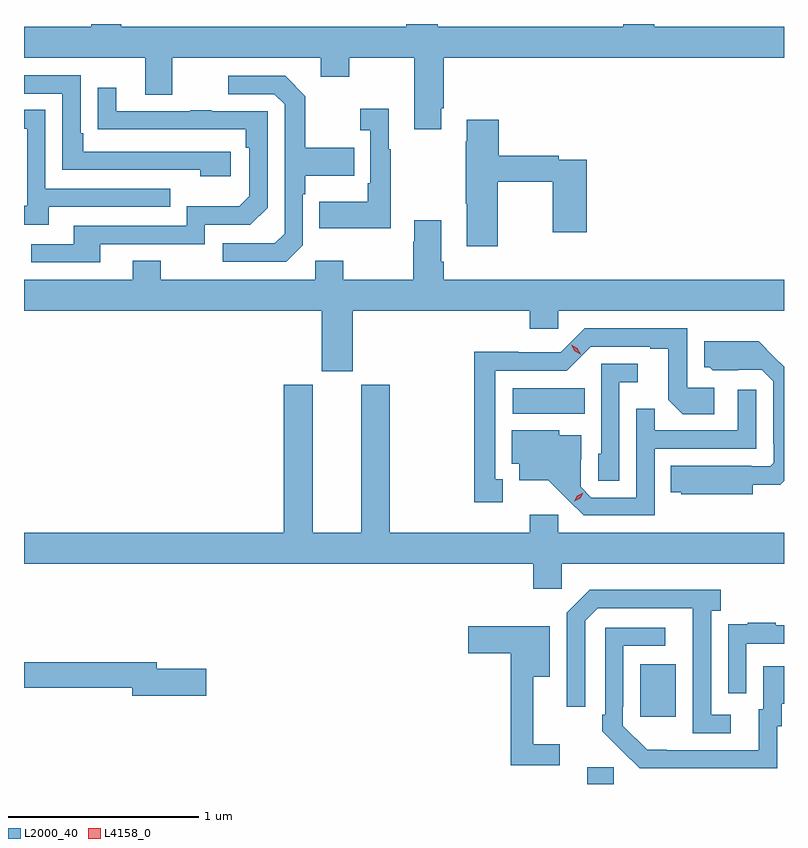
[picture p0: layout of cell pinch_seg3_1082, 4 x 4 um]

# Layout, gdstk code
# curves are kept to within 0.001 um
import gdstk
lib = gdstk.Library(unit=1e-6, precision=1e-09)
def R(c, l, rs):  # rectangles x0, y0, x1, y1
    for r in rs: c.add(gdstk.rectangle(r[:2], r[2:], *l))
def P(c, l, *ps):  # polygons
    for p in ps: c.add(gdstk.Polygon(p, *l))
L2000_40 = (2000, 40)
L4158_0 = (4158, 0)

pinch_seg3_1082 = lib.new_cell('pinch_seg3_1082')
R(pinch_seg3_1082, L2000_40, [(318.254,681.11,318.393,681.198), (318.533,681.465,318.721,681.739), (317.862,683.06,318.242,683.194)])
P(pinch_seg3_1082, L2000_40, [(317.485,684.667),(317.498,684.667),(317.498,684.932),(319.29,684.932),(319.29,685.096),(318.608,685.096),(318.608,685.11),(318.443,685.11),(318.443,685.096),(317.468,685.096),(317.468,685.11),(317.303,685.11),(317.303,685.096),(315.803,685.096),(315.803,685.11),(315.643,685.11),(315.643,685.096),(315.29,685.096),(315.29,684.932),(315.929,684.932),(315.929,684.738),(316.069,684.738),(316.069,684.932),(316.853,684.932),(316.853,684.833),(317.001,684.833),(317.001,684.932),(317.345,684.932),(317.345,684.555),(317.485,684.555)],
  [(316.378,684.438),(315.601,684.438),(315.601,684.535),(315.588,684.535),(315.588,684.84),(315.29,684.84),(315.29,684.744),(315.492,684.744),(315.492,684.342),(316.217,684.342),(316.217,684.308),(316.378,684.308)],
  [(316.758,683.946),(316.758,684.215),(316.771,684.215),(316.771,684.311),(317.027,684.311),(317.027,684.459),(316.771,684.459),(316.771,684.731),(316.665,684.837),(316.365,684.837),(316.365,684.741),(316.608,684.741),(316.662,684.687),(316.662,684.006),(316.611,683.955),(316.335,683.955),(316.335,683.859),(316.671,683.859)],
  [(315.691,683.952),(316.242,683.952),(316.242,684.054),(316.482,684.054),(316.572,684.144),(316.572,684.651),(316.277,684.651),(316.277,684.656),(316.165,684.656),(316.165,684.651),(315.775,684.651),(315.775,684.775),(315.679,684.775),(315.679,684.556),(316.456,684.555),(316.456,684.458),(316.476,684.458),(316.476,684.204),(316.423,684.151),(316.146,684.151),(316.146,684.048),(315.551,684.048),(315.551,683.952),(315.327,683.952),(315.327,683.856),(315.691,683.856)],
  [(317.221,684.451),(317.209,684.451),(317.209,684.664),(317.061,684.664),(317.061,684.551),(317.112,684.551),(317.112,684.271),(317.1,684.271),(317.1,684.175),(316.843,684.175),(316.843,684.035),(317.221,684.035)],
  [(315.421,684.147),(316.061,684.147),(316.061,684.243),(315.402,684.243),(315.402,684.659),(315.29,684.659),(315.29,684.558),(315.306,684.558),(315.306,684.153),(315.29,684.153),(315.29,684.053),(315.421,684.053)],
  [(317.784,684.28),(318.073,684.28),(318.073,684.015),(318.251,684.015),(318.251,684.396),(318.104,684.396),(318.104,684.416),(317.789,684.416),(317.789,684.607),(317.621,684.607),(317.621,684.494),(317.614,684.494),(317.614,684.163),(317.621,684.163),(317.621,683.94),(317.784,683.94)],
  [(317.02,683.6),(317.951,683.6),(317.951,683.507),(318.102,683.507),(318.102,683.6),(319.29,683.6),(319.29,683.764),(317.498,683.764),(317.498,683.86),(317.485,683.86),(317.485,684.076),(317.345,684.076),(317.345,683.963),(317.338,683.963),(317.338,683.764),(316.971,683.764),(316.971,683.863),(316.824,683.863),(316.824,683.764),(316.011,683.764),(316.011,683.863),(315.863,683.863),(315.863,683.764),(315.29,683.764),(315.29,683.6),(316.856,683.6),(316.856,683.283),(317.02,683.283)],
  [(317.809,682.713),(317.77,682.713),(317.77,683.286),(318.147,683.286),(318.273,683.412),(318.587,683.412),(318.587,683.4),(318.681,683.4),(318.681,683.132),(318.757,683.056),(318.922,683.056),(318.922,683.196),(318.78,683.196),(318.78,683.508),(318.24,683.508),(318.114,683.382),(317.892,683.382),(317.892,683.384),(317.659,683.384),(317.659,682.593),(317.809,682.593)],
  [(319.126,682.685),(319.27,682.685),(319.29,682.705),(319.29,683.305),(319.157,683.44),(318.869,683.44),(318.869,683.304),(318.9,683.304),(318.916,683.288),(319.173,683.289),(319.233,683.229),(319.233,682.9),(319.236,682.9),(319.236,682.8),(319.218,682.782),(319.118,682.782),(319.118,682.786),(318.694,682.786),(318.694,682.646),(318.75,682.646),(318.75,682.634),(319.126,682.634)],
  [(318.423,683.225),(318.52,683.225),(318.52,683.322),(318.327,683.322),(318.327,682.848),(318.312,682.848),(318.312,682.705),(318.423,682.705)],
  [(318.12,682.268),(319.29,682.268),(319.29,682.432),(318.102,682.432),(318.102,682.528),(317.951,682.528),(317.951,682.432),(317.214,682.432),(317.214,683.211),(317.066,683.211),(317.066,682.432),(316.81,682.432),(316.81,683.211),(316.658,683.211),(316.658,682.432),(315.29,682.432),(315.29,682.268),(317.969,682.268),(317.969,682.137),(318.12,682.137)],
  [(318.609,682.875),(319.143,682.875),(319.143,683.185),(319.047,683.185),(319.047,682.971),(318.611,682.971),(318.611,683.084),(318.513,683.084),(318.513,682.617),(318.276,682.617),(318.219,682.674),(318.219,682.816),(318.223,682.816),(318.223,682.945),(318.108,682.945),(318.108,682.972),(317.858,682.972),(317.858,682.796),(317.897,682.796),(317.897,682.709),(318.049,682.709),(318.236,682.524),(318.609,682.524)],
  [(319.009,681.474),(318.906,681.474),(318.906,682.022),(318.958,682.022),(318.958,682.132),(318.268,682.132),(318.147,682.011),(318.147,681.516),(318.243,681.516),(318.243,681.969),(318.309,682.035),(318.809,682.035),(318.81,681.378),(319.009,681.378)],
  [(319.092,681.849),(319.29,681.849),(319.29,681.945),(319.247,681.945),(319.247,681.958),(319.099,681.958),(319.099,681.951),(318.997,681.951),(318.997,681.842),(318.996,681.842),(318.996,681.588),(319.092,681.588)],
  [(318.109,681.319),(317.969,681.319),(317.969,681.674),(318.058,681.674),(318.058,681.939),(317.628,681.939),(317.628,681.797),(317.851,681.797),(317.851,681.21),(318.109,681.21)],
  [(319.254,681.414),(319.279,681.414),(319.279,681.533),(319.29,681.533),(319.29,681.73),(319.181,681.73),(319.181,681.504),(319.157,681.504),(319.157,681.288),(318.57,681.289),(318.441,681.417),(318.441,681.517),(318.444,681.517),(318.444,681.837),(318.664,681.837),(318.664,681.933),(318.348,681.933),(318.348,681.475),(318.333,681.475),(318.333,681.387),(318.53,681.192),(319.254,681.192)],
  [(316.249,681.716),(315.988,681.716),(315.988,681.752),(315.29,681.752),(315.29,681.616),(315.86,681.616),(315.86,681.574),(316.249,681.574)])
P(pinch_seg3_1082, L4158_0, [(318.218,683.371),(318.187,683.39),(318.169,683.422),(318.169,683.423),(318.17,683.423),(318.201,683.404),(318.219,683.371),(318.219,683.371)],
  [(318.186,682.598),(318.186,682.598),(318.203,682.628),(318.234,682.642),(318.234,682.642),(318.234,682.642),(318.217,682.613),(318.186,682.598)])

lib.write_gds('pinch_seg3_1082.gds')
